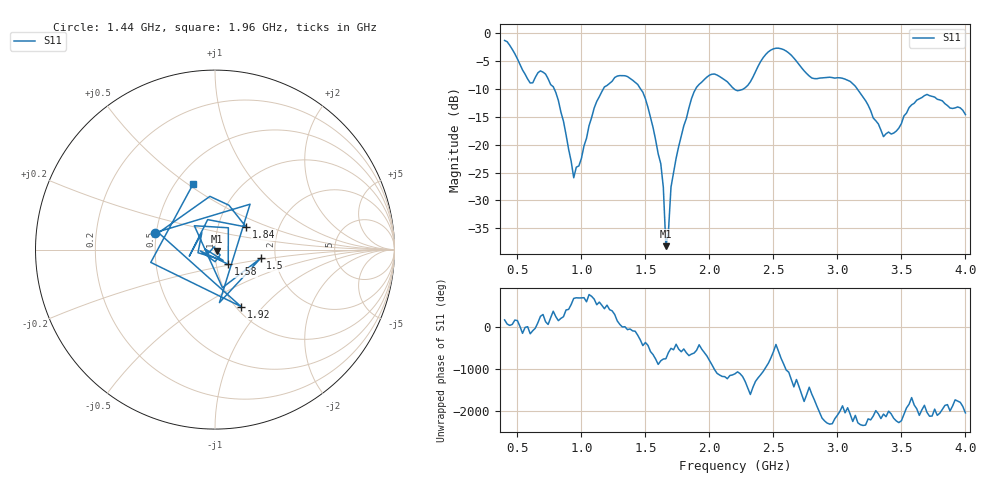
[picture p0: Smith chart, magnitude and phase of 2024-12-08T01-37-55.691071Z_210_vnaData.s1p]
!Created with skrf (http://scikit-rf.org).
# Hz S RI R 50.0
!freq ReS11 ImS11
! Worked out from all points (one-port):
!   181 points, 400 MHz to 4 GHz, reference 50 ohm
!   lowest |S11| = -38.2 dB at 1.66 GHz (marker M1), VSWR 1.02, Z = 50.9 - j0.797 ohm
!   |S11| at or under -10 dB: 788.3 MHz to 1.171 GHz (382.4 MHz wide, 39 % of centre); 1.463 GHz to 1.892 GHz (429.4 MHz wide, 25.6 % of centre); 3.156 GHz to end of sweep (the widest 3 of 4)
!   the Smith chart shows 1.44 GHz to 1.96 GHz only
!   S11 on the Smith chart (normalised r, x): 1.44 GHz: 0.49, +0.10; 1.5 GHz: 1.67, -0.17; 1.58 GHz: 1.14, -0.19; 1.84 GHz: 1.36, +0.36; 1.92 GHz: 1.06, -0.76; 1.96 GHz: 0.61, +0.52
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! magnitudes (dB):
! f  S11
! 400 MHz  -1.3
! 600 MHz  -8.9
! 720 MHz  -7.3
! 860 MHz  -15.8
! 940 MHz  -25.9
! 1.12 GHz  -12.2
! 1.3 GHz  -7.6
! 1.44 GHz  -9.2
! 1.5 GHz  -11.7
! 1.58 GHz  -19.2
! 1.64 GHz  -27.7
! 1.66 GHz  -38.2
! 1.68 GHz  -35.6
! 1.7 GHz  -27.6
! 1.76 GHz  -20.3
! 1.84 GHz  -13.4
! 1.92 GHz  -9.2
! 1.96 GHz  -8.3
! 2.2 GHz  -10.1
! 2.3 GHz  -9.3
! 2.48 GHz  -3.0
! 2.66 GHz  -4.4
! 2.8 GHz  -8.0
! 3.1 GHz  -8.6
! 3.36 GHz  -18.6
! 3.56 GHz  -13.3
! 3.7 GHz  -11.0
! 4 GHz  -14.6
